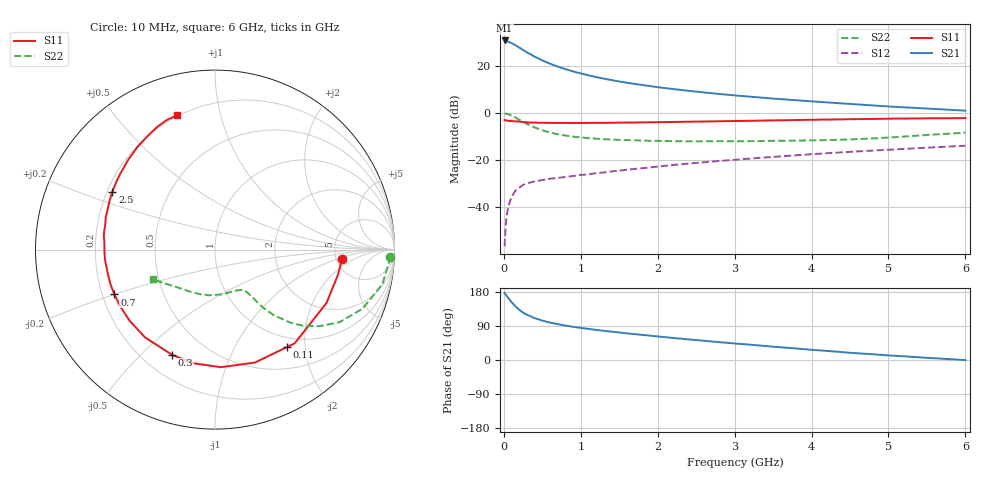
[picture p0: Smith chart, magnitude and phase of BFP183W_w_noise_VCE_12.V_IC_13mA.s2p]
! Infineon Technologies  Discrete & RF Semiconductors
! BFP183W
! VCE =  12. V,  IC =  13 mA
! Common Emitter S-Parameters:  Jan 2017
# GHz  S  MA  R  50
!  f  S11  S21  S12  S22
! GHz  MAG  ANG  MAG  ANG  MAG  ANG  MAG  ANG
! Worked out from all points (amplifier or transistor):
!   77 points, 10 MHz to 6 GHz, reference 50 ohm
!   highest |S21| = 30.7 dB at 10 MHz (marker M1)
!   |S21| within 3 dB of that: start of sweep to 200.2 MHz
!   unconditionally stable (mu >= 1): 1.568 GHz to 3.812 GHz
!   at 130 MHz: K = 0.18, MSG = 31.6 dB, |S12| = -34.0 dB
!   at 2.2 GHz: K = 1.06, MAG = 14.6 dB, |S12| = -22.1 dB
!   at 6 GHz: K = 0.85, MSG = 7.4 dB, |S12| = -13.9 dB
!   lowest NFmin = 1.01 dB at 450 MHz
!   S11 on the Smith chart (normalised r, x): 10 MHz: 5.65, -1.19; 110 MHz: 0.83, -1.66; 300 MHz: 0.32, -0.62; 700 MHz: 0.25, -0.20; 2.5 GHz: 0.22, +0.25; 6 GHz: 0.19, +0.74
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0.01  0.7103 -4.2  34.44 177.1  0.0015 64.7  0.9785 -2.3
0.02  0.6996 -11.5  33.91 173.7  0.0032 83.0  0.9696 -4.7
0.05  0.6887 -25.7  32.88 165.6  0.0089 73.5  0.9527 -11.6
0.1  0.6854 -49.7  30.47 152.7  0.0163 66.7  0.8851 -21.9
0.11  0.6748 -53.7  29.78 150.7  0.0175 64.8  0.8672 -23.4
0.15  0.6675 -70.5  27.45 141.7  0.0224 59.2  0.8025 -30.3
0.2  0.656 -87.1  24.39 132.5  0.0261 53.9  0.721 -36.3
0.25  0.6445 -100.9  21.67 125.1  0.0298 48.6  0.6474 -40.9
0.3  0.6333 -112.2  19.26 119.3  0.0323 46.0  0.585 -44.1
0.4  0.6255 -128.5  15.64 110.3  0.0353 42.4  0.4924 -48.1
0.5  0.6191 -140.3  12.98 103.9  0.0378 40.9  0.4295 -50.1
0.6  0.6156 -149.2  11.1 98.8  0.0405 41.1  0.3853 -51.1
0.7  0.6138 -156.0  9.622 94.6  0.0418 41.6  0.3539 -51.5
0.9  0.6122 -166.8  7.598 87.6  0.046 43.3  0.3152 -52.5
1.1  0.6152 -174.8  6.285 82.1  0.0502 45.2  0.2934 -53.4
1.5  0.624 173.1  4.65 72.6  0.06 49.0  0.2684 -56.8
2.1  0.64 158.7  3.367 60.2  0.076 52.1  0.2539 -66.1
2.5  0.6553 150.8  2.835 52.6  0.0873 52.7  0.251 -74.6
3.1  0.6783 140.3  2.287 42.0  0.1048 52.2  0.2518 -88.1
4.1  0.7207 125.5  1.72 25.5  0.1367 49.3  0.2643 -112.6
5.1  0.7582 114.3  1.345 10.9  0.1693 44.8  0.3082 -138.7
6  0.7775 106.0  1.12 -0.3  0.2017 39.6  0.3821 -154.5
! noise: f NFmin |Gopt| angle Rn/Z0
0.45  1.01  0.12  144  0.1
0.9  1.04  0.19  155  0.09
1.9  1.52  0.38  -172  0.08
2.4  1.75  0.44  -164  0.1
